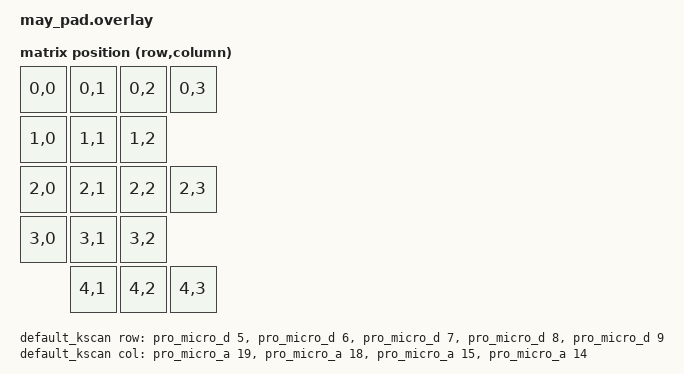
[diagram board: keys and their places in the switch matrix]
/*
 * Copyright (c) 2020 The ZMK Contributors
 *
 * SPDX-License-Identifier: MIT
 */

#include <dt-bindings/zmk/matrix_transform.h>

/ {
    chosen {
        zmk,kscan = &default_kscan;
        zmk,matrix_transform = &default_transform;
    };

    default_kscan: kscan {
        compatible = "zmk,kscan-gpio-matrix";
        label = "default_kscan";
        diode-direction = "col2row";

        col-gpios
            = <&pro_micro_a 19 GPIO_ACTIVE_HIGH>
            , <&pro_micro_a 18 GPIO_ACTIVE_HIGH>
            , <&pro_micro_a 15 GPIO_ACTIVE_HIGH>
            , <&pro_micro_a 14 GPIO_ACTIVE_HIGH>
            ;
       
        row-gpios
            = <&pro_micro_d 5 (GPIO_ACTIVE_HIGH | GPIO_PULL_DOWN)>
            , <&pro_micro_d 6 (GPIO_ACTIVE_HIGH | GPIO_PULL_DOWN)>
            , <&pro_micro_d 7 (GPIO_ACTIVE_HIGH | GPIO_PULL_DOWN)>
            , <&pro_micro_d 8 (GPIO_ACTIVE_HIGH | GPIO_PULL_DOWN)>
            , <&pro_micro_d 9 (GPIO_ACTIVE_HIGH | GPIO_PULL_DOWN)>
            ;


    };

    default_transform: matrix_transform {
        compatible = "zmk,matrix_transform";
        columns = <4>;
        rows = <5>;

        map = <
            RC(0,0) RC(0,1) RC(0,2) RC(0,3)
            RC(1,0) RC(1,1) RC(1,2) 
            RC(2,0) RC(2,1) RC(2,2) RC(2,3)
            RC(3,0) RC(3,1) RC(3,2) 
                    RC(4,1) RC(4,2) RC(4,3)
        >;
    };

};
